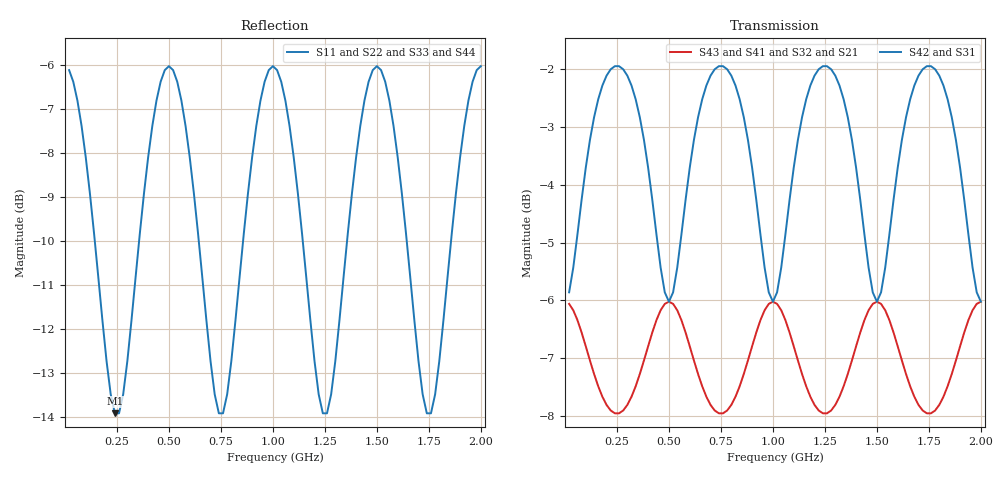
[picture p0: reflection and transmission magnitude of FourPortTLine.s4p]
! C:\Users\peter.pupalaikis\Work\Books\LyxBook\PythonSource\TestSignalIntegrity\FourPortTLine.s4p
! Fri Jun 12 13:49:22 2015
! freq S11 S12 S13 S14
! S21 S22 S23 S24
! S31 S32 S33 S34
! S41 S42 S43 S44
# MHz S MA R 50.00
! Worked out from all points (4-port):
!   100 points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, 20 MHz to 2 GHz, reference 50 ohm
!   strongest paths, dB at 20 MHz, 520 MHz, 1.02 GHz, 1.52 GHz, 2 GHz:
!     S42: -5.9, -5.9, -5.9, -5.9, -6.0
!     S31: -5.9, -5.9, -5.9, -5.9, -6.0
!     S43: -6.1, -6.1, -6.1, -6.1, -6.0
!     S41: -6.1, -6.1, -6.1, -6.1, -6.0
!     S32: -6.1, -6.1, -6.1, -6.1, -6.0
!     S21: -6.1, -6.1, -6.1, -6.1, -6.0
!   lowest |S11| = -13.9 dB at 240 MHz (marker M1), VSWR 1.50, Z = 75.1 - j2.36 ohm
!   |S11| at or under -10 dB: 143.5 MHz to 356.5 MHz (213.1 MHz wide, 85.2 % of centre); 643.5 MHz to 856.5 MHz (213.1 MHz wide, 28.4 % of centre); 1.143 GHz to 1.357 GHz (213.1 MHz wide, 17 % of centre) (the widest 3 of 4)
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20  0.4949 -5.4  0.4978 -9.0  0.5094 5.2  0.4978 171.0
    0.4978 -9.0  0.4949 -5.4  0.4978 171.0  0.5094 5.2
    0.5094 5.2  0.4978 171.0  0.4949 -5.4  0.4978 -9.0
    0.4978 171.0  0.5094 5.2  0.4978 -9.0  0.4949 -5.4
240  0.2013 -4.3  0.4003 -87.1  0.7994 1.1  0.4003 92.9
     0.4003 -87.1  0.2013 -4.3  0.4003 92.9  0.7994 1.1
     0.7994 1.1  0.4003 92.9  0.2013 -4.3  0.4003 -87.1
     0.4003 92.9  0.7994 1.1  0.4003 -87.1  0.2013 -4.3
520  0.4949 -5.4  0.4978 171.0  0.5094 5.2  0.4978 -9.0
     0.4978 171.0  0.4949 -5.4  0.4978 -9.0  0.5094 5.2
     0.5094 5.2  0.4978 -9.0  0.4949 -5.4  0.4978 171.0
     0.4978 -9.0  0.5094 5.2  0.4978 171.0  0.4949 -5.4
1000  0.5 0.0  0.5 0.0  0.5 -0.0  0.5 -180.0
      0.5 0.0  0.5 0.0  0.5 -180.0  0.5 -0.0
      0.5 -0.0  0.5 -180.0  0.5 0.0  0.5 0.0
      0.5 -180.0  0.5 -0.0  0.5 0.0  0.5 0.0
1240  0.2013 -4.3  0.4003 -87.1  0.7994 1.1  0.4003 92.9
      0.4003 -87.1  0.2013 -4.3  0.4003 92.9  0.7994 1.1
      0.7994 1.1  0.4003 92.9  0.2013 -4.3  0.4003 -87.1
      0.4003 92.9  0.7994 1.1  0.4003 -87.1  0.2013 -4.3
1500  0.5 0.0  0.5 -180.0  0.5 -0.0  0.5 0.0
      0.5 -180.0  0.5 0.0  0.5 0.0  0.5 -0.0
      0.5 -0.0  0.5 0.0  0.5 0.0  0.5 -180.0
      0.5 0.0  0.5 -0.0  0.5 -180.0  0.5 0.0
2000  0.5 0.0  0.5 0.0  0.5 -0.0  0.5 -180.0
      0.5 0.0  0.5 0.0  0.5 -180.0  0.5 -0.0
      0.5 -0.0  0.5 -180.0  0.5 0.0  0.5 0.0
      0.5 -180.0  0.5 -0.0  0.5 0.0  0.5 0.0
